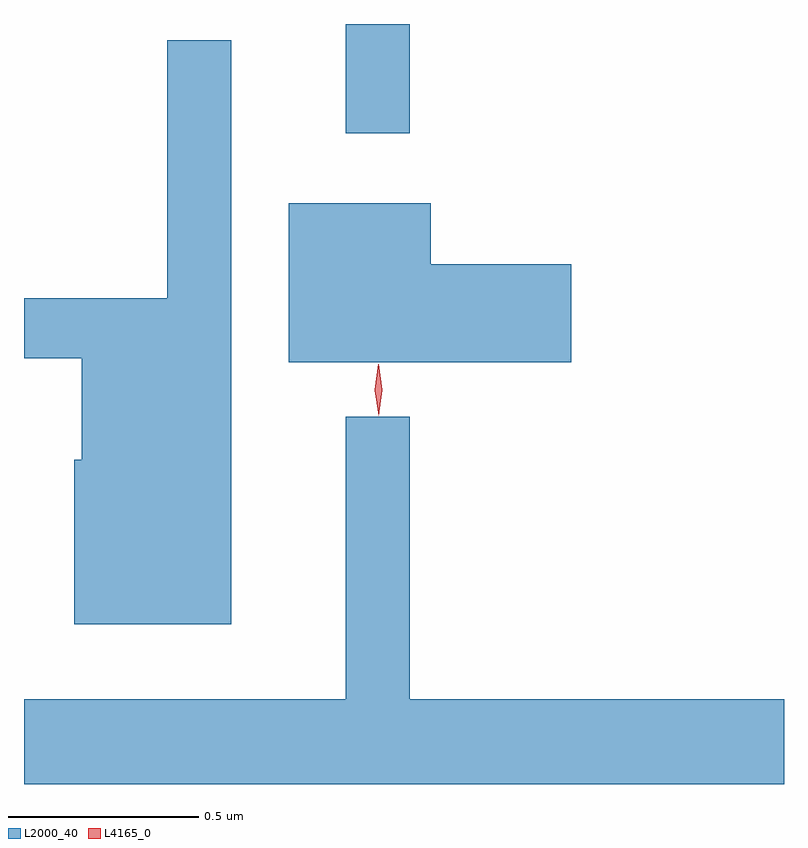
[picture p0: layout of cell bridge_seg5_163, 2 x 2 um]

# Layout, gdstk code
import gdstk
lib = gdstk.Library(unit=1e-6, precision=1e-09)
def R(c, l, rs):  # rectangles x0, y0, x1, y1
    for r in rs: c.add(gdstk.rectangle(r[:2], r[2:], *l))
def P(c, l, *ps):  # polygons
    for p in ps: c.add(gdstk.Polygon(p, *l))
L2000_40 = (2000, 40)
L4165_0 = (4165, 0)

bridge_seg5_163 = lib.new_cell('bridge_seg5_163')
R(bridge_seg5_163, L2000_40, [(1078.481,1414.153,1078.649,1414.441)])
P(bridge_seg5_163, L2000_40, [(1078.179,1414.398),(1078.011,1414.398),(1078.011,1413.719),(1077.634,1413.719),(1077.634,1413.561),(1077.786,1413.561),(1077.786,1413.294),(1077.766,1413.294),(1077.766,1412.861),(1078.179,1412.861)],
  [(1079.074,1413.809),(1078.704,1413.809),(1078.704,1413.969),(1078.331,1413.969),(1078.331,1413.551),(1079.074,1413.551)],
  [(1079.634,1412.664),(1078.649,1412.664),(1078.649,1413.408),(1078.481,1413.408),(1078.481,1412.664),(1077.634,1412.664),(1077.634,1412.441),(1079.634,1412.441)])
P(bridge_seg5_163, L4165_0, [(1078.567,1413.41),(1078.567,1413.41),(1078.557,1413.478),(1078.566,1413.545),(1078.566,1413.546),(1078.567,1413.545),(1078.577,1413.478),(1078.568,1413.41)],
  [(1078.567,1413.413),(1078.567,1413.414),(1078.557,1413.476),(1078.566,1413.54),(1078.567,1413.54),(1078.567,1413.54),(1078.577,1413.477),(1078.568,1413.414)])

lib.write_gds('bridge_seg5_163.gds')
